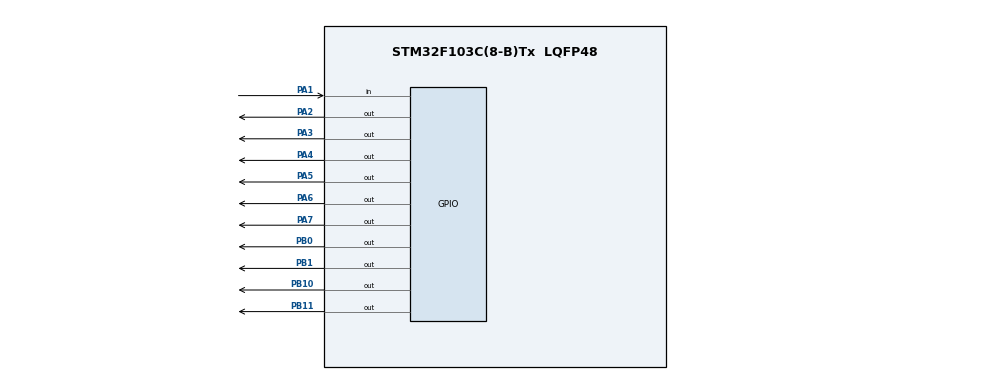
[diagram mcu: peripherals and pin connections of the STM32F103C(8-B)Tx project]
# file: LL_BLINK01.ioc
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Mcu.Family=STM32F1
Mcu.Name=STM32F103C(8-B)Tx
Mcu.Package=LQFP48
NVIC.PriorityGroup=NVIC_PRIORITYGROUP_4
PA1.GPIO_PuPd=GPIO_PULLUP
PA1.Signal=GPIO_Input
PA13.Mode=Serial_Wire
PA13.Signal=SYS_JTMS-SWDIO
PA14.Mode=Serial_Wire
PA14.Signal=SYS_JTCK-SWCLK
PA2.Signal=GPIO_Output
PA3.Signal=GPIO_Output
PA4.Signal=GPIO_Output
PA5.Signal=GPIO_Output
PA6.Signal=GPIO_Output
PA7.Signal=GPIO_Output
PB0.Signal=GPIO_Output
PB1.Signal=GPIO_Output
PB10.Signal=GPIO_Output
PB11.Signal=GPIO_Output
PD0-OSC_IN.Mode=HSE-External-Oscillator
PD0-OSC_IN.Signal=RCC_OSC_IN
PD1-OSC_OUT.Mode=HSE-External-Oscillator
PD1-OSC_OUT.Signal=RCC_OSC_OUT
ProjectManager.HeapSize=0x200
ProjectManager.StackSize=0x400
ProjectManager.TargetToolchain=MDK-ARM V5
RCC.AHBFreq_Value=72000000
RCC.APB1CLKDivider=RCC_HCLK_DIV2
RCC.APB1Freq_Value=36000000
RCC.APB1TimFreq_Value=72000000
RCC.APB2Freq_Value=72000000
RCC.APB2TimFreq_Value=72000000
RCC.HCLKFreq_Value=72000000
RCC.PLLMUL=RCC_PLL_MUL9
RCC.PLLSourceVirtual=RCC_PLLSOURCE_HSE
RCC.SYSCLKFreq_VALUE=72000000
RCC.SYSCLKSource=RCC_SYSCLKSOURCE_PLLCLK
RCC.USBFreq_Value=72000000
board=custom

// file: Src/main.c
/* USER CODE BEGIN Header */
/**
  ******************************************************************************
  * @file           : main.c
  * @brief          : Main program body
  ******************************************************************************
  ** This notice applies to any and all portions of this file
  * that are not between comment pairs USER CODE BEGIN and
  * USER CODE END. Other portions of this file, whether
  * inserted by the user or by software development tools
  * are owned by their respective copyright owners.
  *
  * COPYRIGHT(c) 2019 STMicroelectronics
  *
  * Redistribution and use in source and binary forms, with or without modification,
  * are permitted provided that the following conditions are met:
  *   1. Redistributions of source code must retain the above copyright notice,
  *      this list of conditions and the following disclaimer.
  *   2. Redistributions in binary form must reproduce the above copyright notice,
  *      this list of conditions and the following disclaimer in the documentation
  *      and/or other materials provided with the distribution.
  *   3. Neither the name of STMicroelectronics nor the names of its contributors
  *      may be used to endorse or promote products derived from this software
  *      without specific prior written permission.
  *
  * THIS SOFTWARE IS PROVIDED BY THE COPYRIGHT HOLDERS AND CONTRIBUTORS "AS IS"
  * AND ANY EXPRESS OR IMPLIED WARRANTIES, INCLUDING, BUT NOT LIMITED TO, THE
  * IMPLIED WARRANTIES OF MERCHANTABILITY AND FITNESS FOR A PARTICULAR PURPOSE ARE
  * DISCLAIMED. IN NO EVENT SHALL THE COPYRIGHT HOLDER OR CONTRIBUTORS BE LIABLE
  * FOR ANY DIRECT, INDIRECT, INCIDENTAL, SPECIAL, EXEMPLARY, OR CONSEQUENTIAL
  * DAMAGES (INCLUDING, BUT NOT LIMITED TO, PROCUREMENT OF SUBSTITUTE GOODS OR
  * SERVICES; LOSS OF USE, DATA, OR PROFITS; OR BUSINESS INTERRUPTION) HOWEVER
  * CAUSED AND ON ANY THEORY OF LIABILITY, WHETHER IN CONTRACT, STRICT LIABILITY,
  * OR TORT (INCLUDING NEGLIGENCE OR OTHERWISE) ARISING IN ANY WAY OUT OF THE USE
  * OF THIS SOFTWARE, EVEN IF ADVISED OF THE POSSIBILITY OF SUCH DAMAGE.
  *
  ******************************************************************************
  */
/* USER CODE END Header */

#include "main.h"

/* USER CODE BEGIN PV */
#define LED1_ON() LL_GPIO_SetOutputPin(GPIOA, LL_GPIO_PIN_2)
#define LED1_OFF() LL_GPIO_ResetOutputPin(GPIOA, LL_GPIO_PIN_2)
#define LED2_ON() LL_GPIO_SetOutputPin(GPIOA, LL_GPIO_PIN_3)
#define LED2_OFF() LL_GPIO_ResetOutputPin(GPIOA, LL_GPIO_PIN_3)
#define LED3_ON() LL_GPIO_SetOutputPin(GPIOA, LL_GPIO_PIN_4)
#define LED3_OFF() LL_GPIO_ResetOutputPin(GPIOA, LL_GPIO_PIN_4)
#define LED4_ON() LL_GPIO_SetOutputPin(GPIOA, LL_GPIO_PIN_5)
#define LED4_OFF() LL_GPIO_ResetOutputPin(GPIOA, LL_GPIO_PIN_5)
#define LED5_ON() LL_GPIO_SetOutputPin(GPIOA, LL_GPIO_PIN_6)
#define LED5_OFF() LL_GPIO_ResetOutputPin(GPIOA, LL_GPIO_PIN_6)
#define LED6_ON() LL_GPIO_SetOutputPin(GPIOA, LL_GPIO_PIN_7)
#define LED6_OFF() LL_GPIO_ResetOutputPin(GPIOA, LL_GPIO_PIN_7)
#define LED7_ON() LL_GPIO_SetOutputPin(GPIOB, LL_GPIO_PIN_0)
#define LED7_OFF() LL_GPIO_ResetOutputPin(GPIOB, LL_GPIO_PIN_0)
#define LED8_ON() LL_GPIO_SetOutputPin(GPIOB, LL_GPIO_PIN_1)
#define LED8_OFF() LL_GPIO_ResetOutputPin(GPIOB, LL_GPIO_PIN_1)
#define LED9_ON() LL_GPIO_SetOutputPin(GPIOB, LL_GPIO_PIN_10)
#define LED9_OFF() LL_GPIO_ResetOutputPin(GPIOB, LL_GPIO_PIN_10)
#define LED10_ON() LL_GPIO_SetOutputPin(GPIOB, LL_GPIO_PIN_11)
#define LED10_OFF() LL_GPIO_ResetOutputPin(GPIOB, LL_GPIO_PIN_11)
/* USER CODE END PV */

void SystemClock_Config(void);
static void MX_GPIO_Init(void);

int main(void)
{

  /* MCU Configuration--------------------------------------------------------*/

  /* Reset of all peripherals, Initializes the Flash interface and the Systick. */

  LL_APB2_GRP1_EnableClock(LL_APB2_GRP1_PERIPH_AFIO);
  LL_APB1_GRP1_EnableClock(LL_APB1_GRP1_PERIPH_PWR);

  NVIC_SetPriorityGrouping(NVIC_PRIORITYGROUP_4);

  /* System interrupt init*/

  /**NOJTAG: JTAG-DP Disabled and SW-DP Enabled
  */
  LL_GPIO_AF_Remap_SWJ_NOJTAG();

  /* Configure the system clock */
  SystemClock_Config();

  /* Initialize all configured peripherals */
  MX_GPIO_Init();
  /* USER CODE BEGIN 2 */
  LED1_OFF();LED2_OFF();LED3_OFF();LED4_OFF();LED5_OFF();
  LED6_OFF();LED7_OFF();LED8_OFF();LED9_OFF();LED10_OFF();
  /* USER CODE END 2 */

  /* Infinite loop */
  while (1)
  {

    /* USER CODE BEGIN 3 */
    if (!(LL_GPIO_ReadInputPort(GPIOA)&GPIO_IDR_IDR1))
    {
      LED1_ON();
      LL_mDelay(100);
      LED1_OFF();
      LED2_ON();
      LL_mDelay(100);
      LED2_OFF();
      LED3_ON();
      LL_mDelay(100);
      LED3_OFF();
      LED4_ON();
      LL_mDelay(100);
      LED4_OFF();
      LED5_ON();
      LL_mDelay(100);
      LED5_OFF();
      LED6_ON();
      LL_mDelay(100);
      LED6_OFF();
      LED7_ON();
      LL_mDelay(100);
      LED7_OFF();
      LED8_ON();
      LL_mDelay(100);
      LED8_OFF();
      LED9_ON();
      LL_mDelay(100);
      LED9_OFF();
      LED10_ON();
      LL_mDelay(100);
      LED10_OFF();
    }
  }
  /* USER CODE END 3 */
}

void SystemClock_Config(void)
{
  LL_FLASH_SetLatency(LL_FLASH_LATENCY_2);

   if(LL_FLASH_GetLatency() != LL_FLASH_LATENCY_2)
  {
    Error_Handler();
  }
  LL_RCC_HSE_Enable();

   /* Wait till HSE is ready */
  while(LL_RCC_HSE_IsReady() != 1)
  {

  }
  LL_RCC_PLL_ConfigDomain_SYS(LL_RCC_PLLSOURCE_HSE_DIV_1, LL_RCC_PLL_MUL_9);
  LL_RCC_PLL_Enable();

   /* Wait till PLL is ready */
  while(LL_RCC_PLL_IsReady() != 1)
  {

  }
  LL_RCC_SetAHBPrescaler(LL_RCC_SYSCLK_DIV_1);
  LL_RCC_SetAPB1Prescaler(LL_RCC_APB1_DIV_2);
  LL_RCC_SetAPB2Prescaler(LL_RCC_APB2_DIV_1);
  LL_RCC_SetSysClkSource(LL_RCC_SYS_CLKSOURCE_PLL);

   /* Wait till System clock is ready */
  while(LL_RCC_GetSysClkSource() != LL_RCC_SYS_CLKSOURCE_STATUS_PLL)
  {

  }
  LL_Init1msTick(72000000);
  LL_SYSTICK_SetClkSource(LL_SYSTICK_CLKSOURCE_HCLK);
  LL_SetSystemCoreClock(72000000);
}

static void MX_GPIO_Init(void)
{
  LL_GPIO_InitTypeDef GPIO_InitStruct = {0};

  /* GPIO Ports Clock Enable */
  LL_APB2_GRP1_EnableClock(LL_APB2_GRP1_PERIPH_GPIOD);
  LL_APB2_GRP1_EnableClock(LL_APB2_GRP1_PERIPH_GPIOA);
  LL_APB2_GRP1_EnableClock(LL_APB2_GRP1_PERIPH_GPIOB);

  /**/
  LL_GPIO_ResetOutputPin(GPIOA, LL_GPIO_PIN_2|LL_GPIO_PIN_3|LL_GPIO_PIN_4|LL_GPIO_PIN_5
                          |LL_GPIO_PIN_6|LL_GPIO_PIN_7);

  /**/
  LL_GPIO_ResetOutputPin(GPIOB, LL_GPIO_PIN_0|LL_GPIO_PIN_1|LL_GPIO_PIN_10|LL_GPIO_PIN_11);

  /**/
  GPIO_InitStruct.Pin = LL_GPIO_PIN_1;
  GPIO_InitStruct.Mode = LL_GPIO_MODE_INPUT;
  GPIO_InitStruct.Pull = LL_GPIO_PULL_UP;
  LL_GPIO_Init(GPIOA, &GPIO_InitStruct);

  /**/
  GPIO_InitStruct.Pin = LL_GPIO_PIN_2|LL_GPIO_PIN_3|LL_GPIO_PIN_4|LL_GPIO_PIN_5
                          |LL_GPIO_PIN_6|LL_GPIO_PIN_7;
  GPIO_InitStruct.Mode = LL_GPIO_MODE_OUTPUT;
  GPIO_InitStruct.Speed = LL_GPIO_SPEED_FREQ_LOW;
  GPIO_InitStruct.OutputType = LL_GPIO_OUTPUT_PUSHPULL;
  LL_GPIO_Init(GPIOA, &GPIO_InitStruct);

  /**/
  GPIO_InitStruct.Pin = LL_GPIO_PIN_0|LL_GPIO_PIN_1|LL_GPIO_PIN_10|LL_GPIO_PIN_11;
  GPIO_InitStruct.Mode = LL_GPIO_MODE_OUTPUT;
  GPIO_InitStruct.Speed = LL_GPIO_SPEED_FREQ_LOW;
  GPIO_InitStruct.OutputType = LL_GPIO_OUTPUT_PUSHPULL;
  LL_GPIO_Init(GPIOB, &GPIO_InitStruct);

}

void Error_Handler(void)
{
}

/************************ (C) COPYRIGHT STMicroelectronics *****END OF FILE****/
